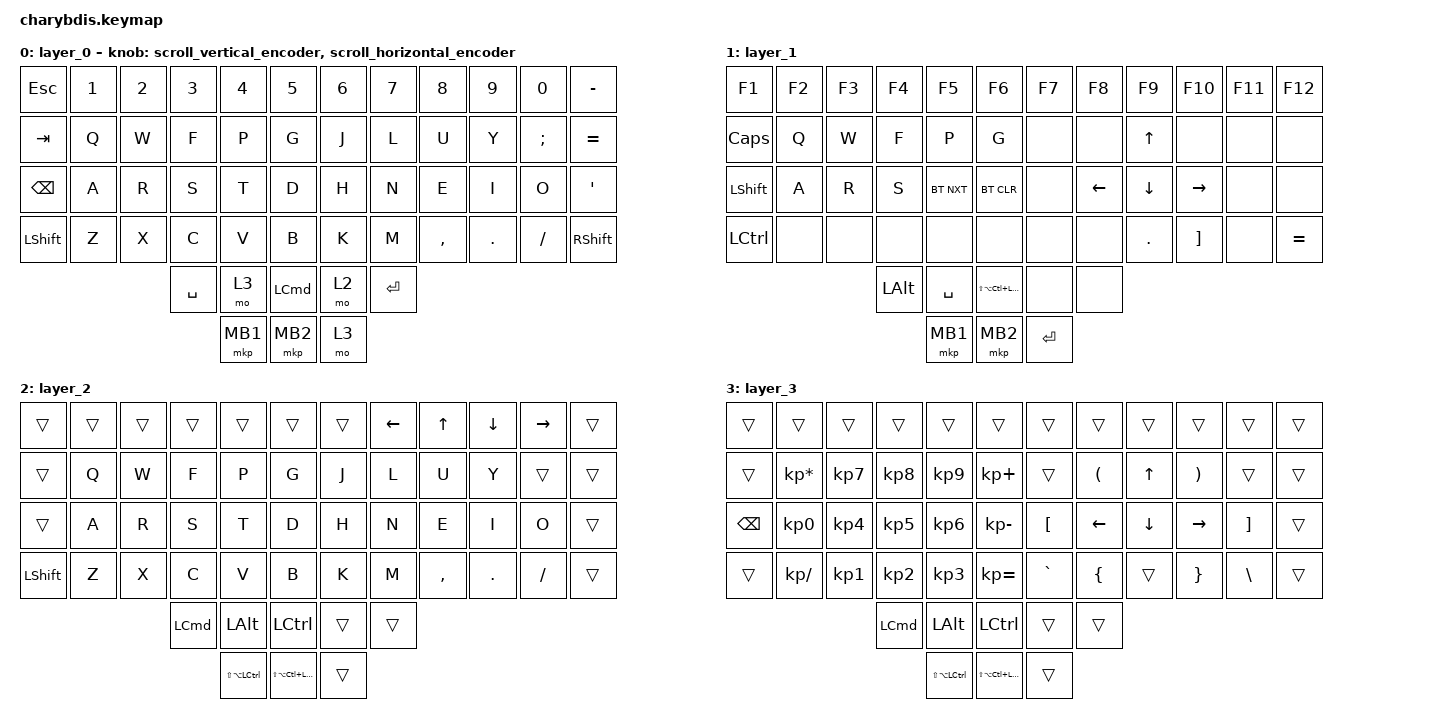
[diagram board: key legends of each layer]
#include <dt-bindings/zmk/mouse.h>
#include <input/processors.dtsi>
#include <zephyr/dt-bindings/input/input-event-codes.h>
#include <behaviors.dtsi>
#include <dt-bindings/zmk/bt.h>
#include <dt-bindings/zmk/keys.h>
#include <dt-bindings/zmk/pointing.h>

#define ZMK_POINTING_DEFAULT_MOVE_VAL 1000 // 600
#define ZMK_POINTING_DEFAULT_SCRL_VAL 12   // 10

&lt {
    tapping-term-ms = <200>;
    flavor = "balanced";
    quick-tap-ms = <150>;
};

&mmv_input_listener { input-processors = <&zip_xy_scaler 2 1>; };

&msc_input_listener { input-processors = <&zip_scroll_scaler 2 1>; };

&msc {
    acceleration-exponent = <0>;      // 0
    time-to-max-speed-ms = <100>;       // 300
    delay-ms = <0>;                   // 0
};

&mmv {
    time-to-max-speed-ms = <300>;
    acceleration-exponent = <1>;
    trigger-period-ms = <16>;
};

/ {
    // 上下滚动编码器行为

    scroll_vertical_encoder: scroll_vertical_encoder {
        compatible = "zmk,behavior-sensor-rotate";
        #sensor-binding-cells = <0>;
        bindings = <&msc SCRL_DOWN>, <&msc SCRL_UP>;

        tap-ms = <100>;
    };

    // 左右滚动编码器行为

    scroll_horizontal_encoder: scroll_horizontal_encoder {
        compatible = "zmk,behavior-sensor-rotate";
        #sensor-binding-cells = <0>;
        bindings = <&msc SCRL_LEFT>, <&msc SCRL_RIGHT>;

        tap-ms = <100>;
    };

    behaviors {
    };

    keymap {
        compatible = "zmk,keymap";

        layer_0 {
            bindings = <
&kp ESC         &kp NUMBER_1  &kp N2  &kp N3     &kp N4    &kp N5              &kp N6  &kp N7     &kp N8     &kp N9      &kp N0         &kp MINUS
&kp TAB         &kp Q         &kp W   &kp F      &kp P     &kp G               &kp J   &kp L      &kp U      &kp Y       &kp SEMICOLON  &kp EQUAL
&kp BACKSPACE   &kp A         &kp R   &kp S      &kp T     &kp D               &kp H   &kp N      &kp E      &kp I       &kp O          &kp SQT
&kp LEFT_SHIFT  &kp Z         &kp X   &kp C      &kp V     &kp B               &kp K   &kp M      &kp COMMA  &kp PERIOD  &kp FSLH       &kp RIGHT_SHIFT
                                      &kp SPACE  &mo 3     &kp LEFT_COMMAND    &mo 2   &kp ENTER
                                                 &mkp MB1  &mkp MB2            &mo 3
            >;

            sensor-bindings =
                <&scroll_vertical_encoder>,
                // 编码器1：上下滚动,,,,,,,,,,,,,
                <&scroll_horizontal_encoder>;

            // 编码器2：左右滚动
        };

        layer_1 {
            bindings = <
&kp F1          &kp F2  &kp F3  &kp F4        &kp F5      &kp F6                          &kp F7     &kp F8    &kp F9      &kp F10            &kp F11  &kp F12
&kp CAPS        &kp Q   &kp W   &kp F         &kp P       &kp G                           &none      &none     &kp UP      &none              &none    &none
&kp LEFT_SHIFT  &kp A   &kp R   &kp S         &bt BT_NXT  &bt BT_CLR                      &none      &kp LEFT  &kp DOWN    &kp RIGHT          &none    &none
&kp LCTRL       &none   &none   &none         &none       &none                           &none      &none     &kp PERIOD  &kp RIGHT_BRACKET  &none    &kp EQUAL
                                &kp LEFT_ALT  &kp SPACE   &kp LS(LA(LC(LEFT_COMMAND)))    &none      &none
                                              &mkp MB1    &mkp MB2                        &kp ENTER
            >;
        };

        layer_2 {
            bindings = <
&trans          &trans  &trans  &trans            &trans             &trans                  &trans  &kp LEFT_ARROW  &kp UP_ARROW  &kp DOWN_ARROW  &kp RIGHT  &trans
&trans          &kp Q   &kp W   &kp F             &kp P              &kp G                   &kp J   &kp L           &kp U         &kp Y           &trans     &trans
&trans          &kp A   &kp R   &kp S             &kp T              &kp D                   &kp H   &kp N           &kp E         &kp I           &kp O      &trans
&kp LEFT_SHIFT  &kp Z   &kp X   &kp C             &kp V              &kp B                   &kp K   &kp M           &kp COMMA     &kp PERIOD      &kp SLASH  &trans
                                &kp LEFT_COMMAND  &kp LEFT_ALT       &kp LEFT_CONTROL        &trans  &trans
                                                  &kp LS(LA(LCTRL))  &kp LS(LA(LC(LGUI)))    &trans
            >;
        };

        layer_3 {
            bindings = <
&trans         &trans           &trans           &trans            &trans                    &trans                  &trans            &trans                &trans        &trans                 &trans             &trans
&trans         &kp KP_MULTIPLY  &kp KP_NUMBER_7  &kp KP_NUMBER_8   &kp KP_NUMBER_9           &kp KP_PLUS             &trans            &kp LEFT_PARENTHESIS  &kp UP_ARROW  &kp RIGHT_PARENTHESIS  &trans             &trans
&kp BACKSPACE  &kp KP_NUMBER_0  &kp KP_NUMBER_4  &kp KP_NUMBER_5   &kp KP_NUMBER_6           &kp KP_MINUS            &kp LEFT_BRACKET  &kp LEFT              &kp DOWN      &kp RIGHT              &kp RIGHT_BRACKET  &trans
&trans         &kp KP_DIVIDE    &kp KP_NUMBER_1  &kp KP_NUMBER_2   &kp KP_NUMBER_3           &kp KP_EQUAL            &kp GRAVE         &kp LEFT_BRACE        &trans        &kp RIGHT_BRACE        &kp BSLH           &trans
                                                 &kp LEFT_COMMAND  &kp LEFT_ALT              &kp LEFT_CONTROL        &trans            &trans
                                                                   &kp LS(LA(LEFT_CONTROL))  &kp LS(LA(LC(LGUI)))    &trans
            >;
        };

        /* layer_2 {
            bindings = <
&none  &none   &none    &none   &none         &none         &kp N1         &none         &none     &none  &none   &to 0
&none  &none   &none    &none   &none         &none         &none         &none          &rgb_ug RGB_BRD &rgb_ug RGB_BRI  &rgb_ug RGB_EFF   &rgb_ug RGB_TOG
&none  &none   &none    &none   &none         &none         &none         &mkp LCLK     &mkp RCLK  &none  &none   &none
&none  &none   &none    &none   &bt BT_NXT  &bt BT_CLR    &none         &none         &none     &none  &none   &none
                                   &none         &none         &none         &none         &none
                                                 &none         &none         &none
            >;
       
            
        };

       Mouse {
            bindings = <
&none        &none         &none         &none         &none      &none         &none       &none      &none         &none         &none         &none
&none        &bt BT_SEL 0  &bt BT_SEL 1  &bt BT_SEL 3  &none      &bt BT_CLR    &bt BT_CLR  &none      &bt BT_SEL 2  &bt BT_SEL 1  &bt BT_SEL 0  &none
&none        &trans        &trans        &mkp MCLK     &trans     &none         &none       &trans     &mkp MCLK     &trans        &trans        &none
&bootloader  &trans        &mkp RCLK     &mo 4         &mkp LCLK  &mo 5         &mo 5       &mkp LCLK  &mo 4         &mkp RCLK     &trans        &bootloader
                                         &mo 5         &mkp LCLK  &mkp RCLK     &mkp RCLK   &mkp LCLK
                                                       &none      &trans        &trans
            >;

            
        };

        layer_4 {
            bindings = <
&trans  &trans  &trans     &trans     &trans     &trans       &trans     &trans     &trans     &trans     &trans  &trans
&trans  &trans  &trans     &trans     &trans     &trans       &trans     &trans     &trans     &trans     &trans  &trans
&trans  &trans  &trans     &mkp MCLK  &trans     &trans       &trans     &trans     &mkp MCLK  &trans     &trans  &trans
&trans  &trans  &mkp RCLK  &trans     &mkp LCLK  &trans       &trans     &mkp LCLK  &trans     &mkp RCLK  &trans  &trans
                           &trans     &mkp LCLK  &mkp RCLK    &mkp RCLK  &mkp LCLK
                                      &trans     &trans       &trans
            >;
                
                
               
        };

        layer_5 {
            bindings = <
&trans  &trans  &trans     &trans     &trans     &trans       &trans     &trans     &trans     &trans     &trans  &trans
&trans  &trans  &trans     &trans     &trans     &trans       &trans     &trans     &trans     &trans     &trans  &trans
&trans  &trans  &trans     &mkp MCLK  &trans     &trans       &trans     &trans     &mkp MCLK  &trans     &trans  &trans
&trans  &trans  &mkp RCLK  &trans     &mkp LCLK  &trans       &trans     &mkp LCLK  &trans     &mkp RCLK  &trans  &trans
                           &trans     &mkp LCLK  &mkp RCLK    &mkp RCLK  &mkp LCLK
                                      &trans     &trans       &trans
            >;
                
                
        };*/
    };
};
